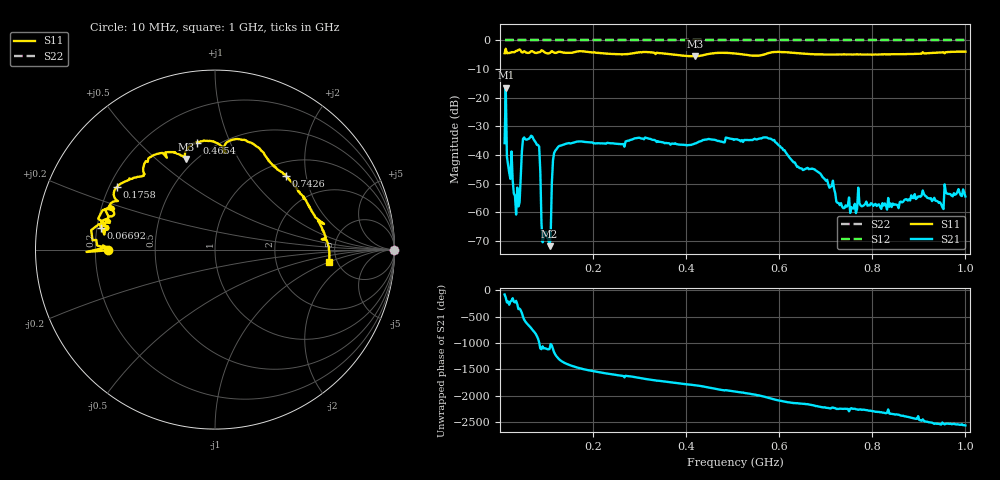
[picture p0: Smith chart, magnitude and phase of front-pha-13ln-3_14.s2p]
! Anritsu VNA Master:  Model: MS2024B
! SN:  2417009
! /card0/usr/front-pha-13ln-3_14.s2p
! Existing Calibration Information:
! TYPE:  Current Settings,  Active Cal Settings
! TIME:  09/08/2026 04:56:26 AM,  09/08/2026 04:50:58 AM
! INTERNAL TEMP:  48.0 C,  44.3 C
! # POINTS:  401,  401
! START FREQ:  10.000 MHz,  10.000 MHz
! STOP FREQ:  1.000 GHz,  1.000 GHz
! SOURCE POWER:  Default,  Default
! IFBW:  1 kHz,  1 kHz
! AVG FACTOR:  16 ,  16
! REF PLANE 1:  0 mm,  0 mm
! REF PLANE 2:  0 mm,  0 mm
! CAL TYPE:  1P2P S11,S21,  1P2P S11,S21
! CAL METHOD:  SOLT,  SOLT
! CAL LINE TYPE:  Coax,  Coax
! DUT PORT 1:  N-Conn(M),  N-Conn(M)
! DUT PORT 2:  N-Conn(M),  N-Conn(M)
! CAL STATUS:  OK: Accuracy High,  --
# GHZ S DB R 50.0
! FREQ.GHZ  S11DB  S11A  S21DB  S21A  S12DB  S12A  S22DB  S22A
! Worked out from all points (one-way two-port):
!   401 points, 10 MHz to 1 GHz, reference 50 ohm
!   highest |S21| = -16.49 dB at 12.47 MHz (marker M1); lowest = -71.8 dB at 106.5 MHz (marker M2)
!   lowest |S11| = -5.5 dB at 418.4 MHz (marker M3), VSWR 3.25, Z = 22.5 + j31.6 ohm
!   |S11| at or under -10 dB: nowhere
!   |S22| runs from 0.0 to 0.0 dB; largest |S21 - S12| = 1.1
!   S11 on the Smith chart (normalised r, x): 10 MHz: 0.25, -0.00; 66.92 MHz: 0.22, +0.09; 175.8 MHz: 0.23, +0.28; 465.4 MHz: 0.40, +0.76; 742.6 MHz: 1.26, +1.53; 1 GHz: 4.26, -1.01
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0.01  -4.46 -179.6  -35.82 -82.0  0.00 0.0  0.00 0.0
0.012475  -2.90 -178.9  -16.49 -140.1  0.00 0.0  0.00 0.0
0.037225  -3.56 175.3  -51.33 94.3  0.00 0.0  0.00 0.0
0.052075  -3.73 168.3  -33.84 161.1  0.00 0.0  0.00 0.0
0.066925  -3.76 169.2  -33.23 2.5  0.00 0.0  0.00 0.0
0.081775  -4.15 166.0  -36.45 163.3  0.00 0.0  0.00 0.0
0.09415  -3.91 159.2  -68.50 -24.9  0.00 0.0  0.00 0.0
0.10405  -4.49 161.3  -69.28 -40.9  0.00 0.0  0.00 0.0
0.106525  -4.39 162.1  -71.76 -35.7  0.00 0.0  0.00 0.0
0.116425  -4.25 157.4  -39.22 -97.8  0.00 0.0  0.00 0.0
0.1189  -4.35 158.0  -38.43 -141.5  0.00 0.0  0.00 0.0
0.175825  -3.78 147.2  -35.23 -50.5  0.00 0.0  0.00 0.0
0.34165  -4.39 115.8  -35.37 81.1  0.00 0.0  0.00 0.0
0.418375  -5.52 107.5  -35.97 -1.7  0.00 0.0  0.00 0.0
0.4654  -4.36 99.8  -34.88 -75.9  0.00 0.0  0.00 0.0
0.505  -4.54 88.7  -34.48 -122.0  0.00 0.0  0.00 0.0
0.5842  -4.13 80.6  -34.53 100.2  0.00 0.0  0.00 0.0
0.641125  -4.45 62.8  -44.08 11.6  0.00 0.0  0.00 0.0
0.670825  -4.76 58.1  -44.67 -19.9  0.00 0.0  0.00 0.0
0.7426  -4.89 46.2  -57.52 -90.3  0.00 0.0  0.00 0.0
0.83665  -4.82 29.7  -58.01 -179.8  0.00 0.0  0.00 0.0
1  -3.92 -6.3  -54.41 -46.1  0.00 0.0  0.00 0.0
